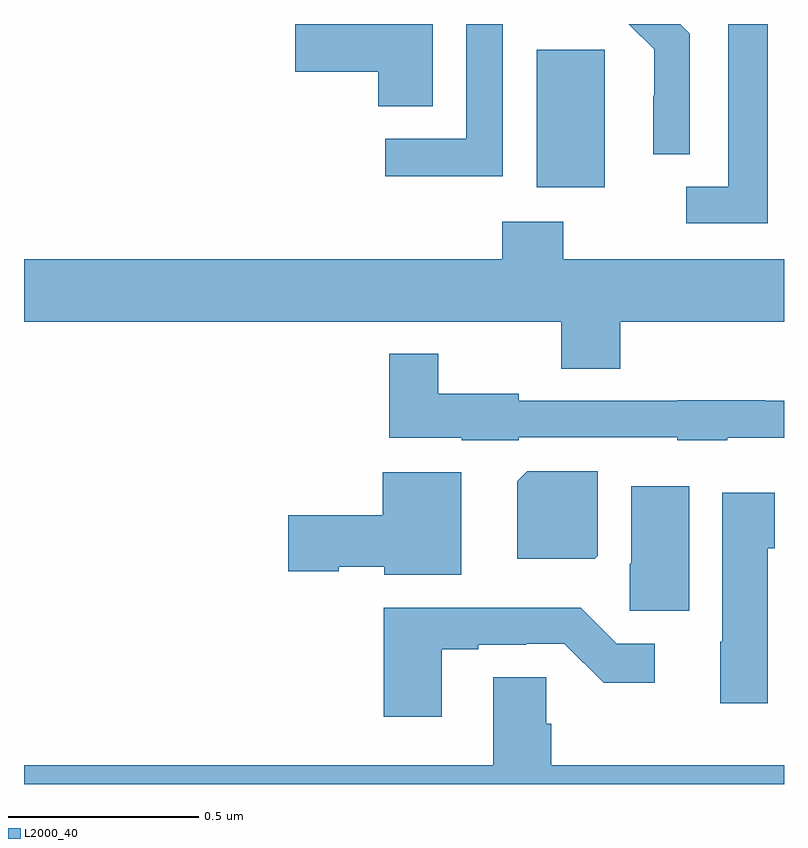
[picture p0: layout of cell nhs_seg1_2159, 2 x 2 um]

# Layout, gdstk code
import gdstk
lib = gdstk.Library(unit=1e-6, precision=1e-09)
def R(c, l, rs):  # rectangles x0, y0, x1, y1
    for r in rs: c.add(gdstk.rectangle(r[:2], r[2:], *l))
def P(c, l, *ps):  # polygons
    for p in ps: c.add(gdstk.Polygon(p, *l))
L2000_40 = (2000, 40)

nhs_seg1_2159 = lib.new_cell('nhs_seg1_2159')
R(nhs_seg1_2159, L2000_40, [(139.349,534.77,139.528,535.131)])
P(nhs_seg1_2159, L2000_40, [(139.752,535.174),(139.727,535.199),(139.591,535.199),(139.658,535.133),(139.658,535.01),(139.656,535.01),(139.656,534.856),(139.752,534.856)],
  [(139.26,535.199),(139.164,535.199),(139.164,534.897),(138.951,534.897),(138.951,534.799),(139.26,534.799)],
  [(139.957,535.199),(139.853,535.199),(139.853,534.771),(139.743,534.771),(139.743,534.675),(139.957,534.675)],
  [(139.075,535.199),(138.714,535.199),(138.714,535.073),(138.932,535.073),(138.932,534.982),(139.075,534.982)],
  [(139.569,534.416),(140,534.416),(140,534.58),(139.419,534.58),(139.419,534.679),(139.259,534.679),(139.259,534.58),(138,534.58),(138,534.416),(139.414,534.416),(139.414,534.292),(139.569,534.292)],
  [(139.302,534.111),(139.719,534.111),(139.719,534.104),(139.851,534.104),(139.851,534.11),(140,534.11),(140,534.207),(139.951,534.207),(139.951,534.209),(139.719,534.209),(139.719,534.207),(139.302,534.207),(139.302,534.226),(139.09,534.226),(139.09,534.331),(138.961,534.331),(138.961,534.11),(139.152,534.11),(139.152,534.104),(139.302,534.104)],
  [(139.51,533.8),(139.51,534.022),(139.324,534.022),(139.298,533.996),(139.298,533.792),(139.502,533.792)],
  [(139.15,534.02),(138.944,534.02),(138.944,533.906),(138.696,533.906),(138.696,533.759),(138.828,533.759),(138.828,533.771),(138.948,533.771),(138.948,533.75),(139.15,533.75)],
  [(139.75,533.983),(139.598,533.983),(139.598,533.778),(139.594,533.778),(139.594,533.655),(139.75,533.655)],
  [(139.957,533.82),(139.975,533.82),(139.975,533.965),(139.838,533.965),(139.838,533.574),(139.832,533.574),(139.832,533.412),(139.957,533.412)],
  [(139.099,533.553),(139.195,533.553),(139.195,533.565),(139.322,533.565),(139.322,533.568),(139.422,533.568),(139.525,533.466),(139.66,533.466),(139.66,533.568),(139.56,533.568),(139.465,533.663),(138.947,533.663),(138.947,533.376),(139.099,533.376)],
  [(140,533.248),(139.388,533.248),(139.388,533.358),(139.374,533.358),(139.374,533.48),(139.235,533.48),(139.235,533.248),(138,533.248),(138,533.199),(140,533.199)])

lib.write_gds('nhs_seg1_2159.gds')
